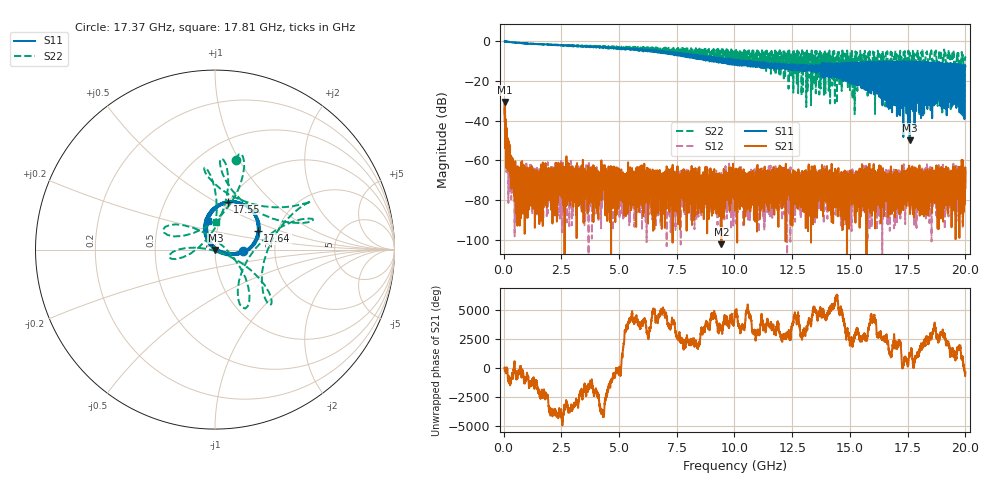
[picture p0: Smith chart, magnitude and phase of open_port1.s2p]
!Agilent Technologies,E8364A,US41440322,A.04.87.01
!Agilent E8364A: A.04.87.01
!Date: Tuesday, July 16, 2024 13:03:04
!Correction: S11(Full 2 Port SOLT,1,2) S21(Full 2 Port SOLT,1,2) S12(Full 2 Port SOLT,1,2) S22(Full 2 Port SOLT,1,2)
!S2P File: Measurements: S11, S21, S12, S22:
# Hz S  dB  R 50
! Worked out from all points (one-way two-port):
!   6401 points, 45 MHz to 20 GHz, reference 50 ohm
!   highest |S21| = -30.63 dB at 51.24 MHz (marker M1); lowest = -102.0 dB at 9.433 GHz (marker M2)
!   lowest |S11| = -50.0 dB at 17.59 GHz (marker M3), VSWR 1.01, Z = 50.3 - j0.158 ohm
!   |S11| at or under -10 dB: 10.26 GHz to 10.32 GHz (55.94 MHz wide, 0.544 % of centre); 10.33 GHz to 10.39 GHz (60.09 MHz wide, 0.58 % of centre); 10.39 GHz to end of sweep (the widest 3 of 22)
!   |S22| runs from -37.6 to 0.1 dB; largest |S21 - S12| = 0.042
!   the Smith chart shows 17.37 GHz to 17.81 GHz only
!   S11 on the Smith chart (normalised r, x): 17.37 GHz: 1.36, -0.02; 17.55 GHz: 0.99, +0.57; 17.64 GHz: 1.58, +0.35; 17.81 GHz: 0.88, +0.29
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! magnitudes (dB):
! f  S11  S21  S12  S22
! 45 MHz  -0.4  -36.0  -37.3  0.1
! 51.24 MHz  -0.4  -30.6  -33.1  -0.2
! 169.7 MHz  -0.5  -52.9  -57.1  -0.5
! 291.3 MHz  -0.7  -61.8  -64.6  -0.7
! 612.5 MHz  -1.0  -68.1  -75.2  -1.0
! 1.598 GHz  -1.7  -90.1  -66.0  -1.8
! 2.452 GHz  -2.3  -72.0  -75.1  -2.1
! 3.372 GHz  -2.8  -67.5  -72.7  -2.6
! 6.699 GHz  -5.0  -80.0  -87.6  -4.0
! 9.433 GHz  -10.0  -102.0  -66.5  -7.7
! 10.02 GHz  -10.6  -64.4  -69.2  -5.3
! 13.35 GHz  -14.7  -74.0  -79.1  -5.2
! 13.73 GHz  -14.3  -68.9  -78.9  -15.7
! 14.1 GHz  -18.5  -76.7  -82.4  -5.5
! 16.68 GHz  -17.2  -66.9  -76.3  -10.3
! 17.37 GHz  -16.3  -70.7  -82.2  -5.8
! 17.55 GHz  -11.2  -75.9  -67.1  -6.8
! 17.59 GHz  -50.0  -68.0  -67.7  -6.3
! 17.64 GHz  -11.7  -67.6  -67.6  -11.9
! 17.81 GHz  -15.7  -65.8  -71.6  -16.3
! 19.89 GHz  -26.8  -82.3  -72.4  -7.2
! 20 GHz  -12.8  -73.8  -67.3  -8.3
